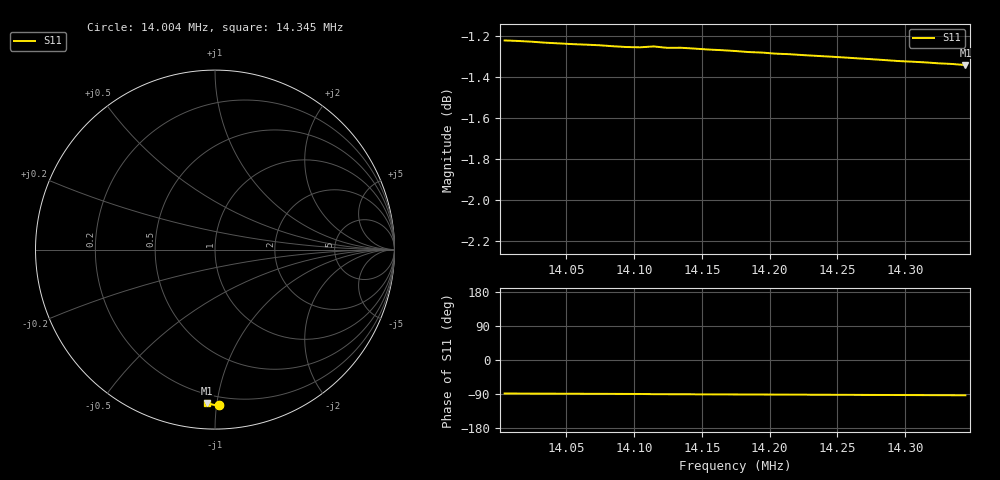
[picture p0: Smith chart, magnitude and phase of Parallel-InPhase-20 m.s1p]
# HZ S RI R 50
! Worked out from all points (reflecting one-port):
!   35 points, 14.004 MHz to 14.345 MHz, reference 50 ohm
!   lowest |S11| = -1.3 dB at 14.345 MHz (marker M1), VSWR 12.96, Z = 7.28 - j46.8 ohm
!   phase of S11 starts at -88 deg and turns -5 deg over the sweep
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1.40044e7  0.0237 -0.8683
1.402441e7  0.0202 -0.8677
1.403441e7  0.0184 -0.8673
1.404442e7  0.0164 -0.867
1.405442e7  0.0147 -0.8667
1.407443e7  0.0111 -0.8662
1.409444e7  0.00738 -0.8654
1.410444e7  0.00535 -0.8652
1.411444e7  -0.00243 -0.8657
1.412445e7  -0.00445 -0.865
1.413445e7  -0.00628 -0.865
1.414446e7  -0.00799 -0.8646
1.415446e7  -0.00997 -0.8641
1.417447e7  -0.0136 -0.8634
1.418447e7  -0.0153 -0.8628
1.419448e7  -0.0173 -0.8625
1.420448e7  -0.019 -0.862
1.421448e7  -0.0211 -0.8617
1.422449e7  -0.023 -0.8612
1.423449e7  -0.0248 -0.8608
1.42545e7  -0.0288 -0.8599
1.42645e7  -0.0306 -0.8594
1.429452e7  -0.0364 -0.8579
1.430452e7  -0.0384 -0.8575
1.431452e7  -0.0405 -0.8571
1.432453e7  -0.0424 -0.8565
1.433453e7  -0.0445 -0.8561
1.434454e7  -0.0462 -0.8555
